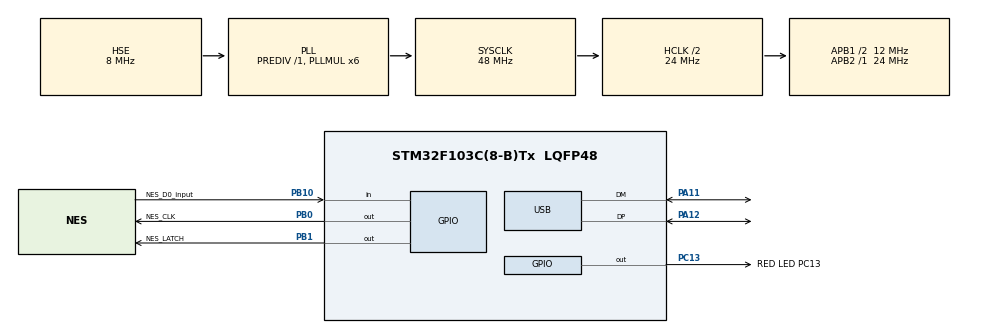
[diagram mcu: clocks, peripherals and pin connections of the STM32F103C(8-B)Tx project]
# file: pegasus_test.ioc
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Mcu.Family=STM32F1
Mcu.Name=STM32F103C(8-B)Tx
Mcu.Package=LQFP48
NVIC.PriorityGroup=NVIC_PRIORITYGROUP_4
NVIC.USB_LP_CAN1_RX0_IRQn=true\:0\:0\:false\:false\:true\:false
PA11.Mode=Device
PA11.Signal=USB_DM
PA12.Mode=Device
PA12.Signal=USB_DP
PA13.Mode=Serial_Wire
PA13.Signal=SYS_JTMS-SWDIO
PA14.Mode=Serial_Wire
PA14.Signal=SYS_JTCK-SWCLK
PB0.GPIO_Label=NES_CLK
PB0.GPIO_Speed=GPIO_SPEED_FREQ_HIGH
PB0.Signal=GPIO_Output
PB1.GPIO_Label=NES_LATCH
PB1.GPIO_Speed=GPIO_SPEED_FREQ_HIGH
PB1.Signal=GPIO_Output
PB10.GPIO_Label=NES_D0_input
PB10.GPIO_PuPd=GPIO_PULLUP
PB10.Signal=GPIO_Input
PC13-TAMPER-RTC.GPIO_Label=RED LED PC13
PC13-TAMPER-RTC.Signal=GPIO_Output
PD0-OSC_IN.Mode=HSE-External-Oscillator
PD0-OSC_IN.Signal=RCC_OSC_IN
PD1-OSC_OUT.Mode=HSE-External-Oscillator
PD1-OSC_OUT.Signal=RCC_OSC_OUT
ProjectManager.HeapSize=0x200
ProjectManager.StackSize=0x400
ProjectManager.TargetToolchain=SW4STM32
RCC.AHBCLKDivider=RCC_SYSCLK_DIV2
RCC.AHBFreq_Value=24000000
RCC.APB1CLKDivider=RCC_HCLK_DIV2
RCC.APB1Freq_Value=12000000
RCC.APB1TimFreq_Value=24000000
RCC.APB2Freq_Value=24000000
RCC.APB2TimFreq_Value=24000000
RCC.HCLKFreq_Value=24000000
RCC.PLLMUL=RCC_PLL_MUL6
RCC.RCC_MCOSource=RCC_MCO1SOURCE_PLLCLK
RCC.SYSCLKFreq_VALUE=48000000
RCC.SYSCLKSource=RCC_SYSCLKSOURCE_PLLCLK
RCC.USBFreq_Value=48000000
USB_DEVICE.CLASS_NAME_FS=CDC
USB_DEVICE.VirtualMode=Cdc
USB_DEVICE.VirtualModeFS=Cdc_FS
VP_USB_DEVICE_VS_USB_DEVICE_CDC_FS.Mode=CDC_FS
board=pegasus_test

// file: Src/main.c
/**
  ******************************************************************************
  * @file           : main.c
  * @brief          : Main program body
  ******************************************************************************
  * This notice applies to any and all portions of this file
  * that are not between comment pairs USER CODE BEGIN and
  * USER CODE END. Other portions of this file, whether
  * inserted by the user or by software development tools
  * are owned by their respective copyright owners.
  *
  * Copyright (c) 2019 STMicroelectronics International N.V.
  * All rights reserved.
  *
  * Redistribution and use in source and binary forms, with or without
  * modification, are permitted, provided that the following conditions are met:
  *
  * 1. Redistribution of source code must retain the above copyright notice,
  *    this list of conditions and the following disclaimer.
  * 2. Redistributions in binary form must reproduce the above copyright notice,
  *    this list of conditions and the following disclaimer in the documentation
  *    and/or other materials provided with the distribution.
  * 3. Neither the name of STMicroelectronics nor the names of other
  *    contributors to this software may be used to endorse or promote products
  *    derived from this software without specific written permission.
  * 4. This software, including modifications and/or derivative works of this
  *    software, must execute solely and exclusively on microcontroller or
  *    microprocessor devices manufactured by or for STMicroelectronics.
  * 5. Redistribution and use of this software other than as permitted under
  *    this license is void and will automatically terminate your rights under
  *    this license.
  *
  * THIS SOFTWARE IS PROVIDED BY STMICROELECTRONICS AND CONTRIBUTORS "AS IS"
  * AND ANY EXPRESS, IMPLIED OR STATUTORY WARRANTIES, INCLUDING, BUT NOT
  * LIMITED TO, THE IMPLIED WARRANTIES OF MERCHANTABILITY, FITNESS FOR A
  * PARTICULAR PURPOSE AND NON-INFRINGEMENT OF THIRD PARTY INTELLECTUAL PROPERTY
  * RIGHTS ARE DISCLAIMED TO THE FULLEST EXTENT PERMITTED BY LAW. IN NO EVENT
  * SHALL STMICROELECTRONICS OR CONTRIBUTORS BE LIABLE FOR ANY DIRECT, INDIRECT,
  * INCIDENTAL, SPECIAL, EXEMPLARY, OR CONSEQUENTIAL DAMAGES (INCLUDING, BUT NOT
  * LIMITED TO, PROCUREMENT OF SUBSTITUTE GOODS OR SERVICES; LOSS OF USE, DATA,
  * OR PROFITS; OR BUSINESS INTERRUPTION) HOWEVER CAUSED AND ON ANY THEORY OF
  * LIABILITY, WHETHER IN CONTRACT, STRICT LIABILITY, OR TORT (INCLUDING
  * NEGLIGENCE OR OTHERWISE) ARISING IN ANY WAY OUT OF THE USE OF THIS SOFTWARE,
  * EVEN IF ADVISED OF THE POSSIBILITY OF SUCH DAMAGE.
  *
  ******************************************************************************
  */
#include "main.h"
#include "stm32f1xx_hal.h"
#include "usb_device.h"

/* USER CODE BEGIN PV */
/* Private variables ---------------------------------------------------------*/

/* USER CODE END PV */

void SystemClock_Config(void);
static void MX_GPIO_Init(void);

/* USER CODE BEGIN PFP */
/* Private function prototypes -----------------------------------------------*/
void int16_to_bin( int16_t x, int8_t *_buf );
void usb_receive_bytes( uint8_t* Buf, uint32_t *Len );
uint16_t get_nes_buttons( void );

/* USER CODE END PFP */

int main(void)
{
  /* USER CODE BEGIN 1 */

	uint16_t tmp_int;
	uint8_t  buf[ 32 ];

  HAL_GPIO_WritePin( RED_LED_PC13_GPIO_Port, RED_LED_PC13_Pin, GPIO_PIN_SET );
  HAL_GPIO_WritePin( NES_CLK_GPIO_Port,      NES_CLK_Pin, GPIO_PIN_RESET );
  HAL_GPIO_WritePin( NES_LATCH_GPIO_Port,    NES_LATCH_Pin, GPIO_PIN_RESET );

  /* USER CODE END 1 */

  /* MCU Configuration----------------------------------------------------------*/

  /* Reset of all peripherals, Initializes the Flash interface and the Systick. */
  HAL_Init();

  /* Configure the system clock */
  SystemClock_Config();

  /* Initialize all configured peripherals */
  MX_GPIO_Init();
  MX_USB_DEVICE_Init();

  /* Infinite loop */
  /* USER CODE BEGIN WHILE */
  while (1)
  {
	HAL_Delay( 100 );
	tmp_int = get_nes_buttons();
	int16_to_bin( tmp_int, buf );
	CDC_Transmit_FS( buf, 18 );

	if( (tmp_int | 0xFC00) != 0xFFFF ) {
		HAL_GPIO_WritePin( RED_LED_PC13_GPIO_Port, RED_LED_PC13_Pin, GPIO_PIN_RESET );
	}
	else {
		HAL_GPIO_WritePin( RED_LED_PC13_GPIO_Port, RED_LED_PC13_Pin, GPIO_PIN_SET );
	}

  /* USER CODE END WHILE */

  }

}

void SystemClock_Config(void)
{

  RCC_OscInitTypeDef RCC_OscInitStruct;
  RCC_ClkInitTypeDef RCC_ClkInitStruct;
  RCC_PeriphCLKInitTypeDef PeriphClkInit;

    /**Initializes the CPU, AHB and APB busses clocks
    */
  RCC_OscInitStruct.OscillatorType = RCC_OSCILLATORTYPE_HSE;
  RCC_OscInitStruct.HSEState = RCC_HSE_ON;
  RCC_OscInitStruct.HSEPredivValue = RCC_HSE_PREDIV_DIV1;
  RCC_OscInitStruct.HSIState = RCC_HSI_ON;
  RCC_OscInitStruct.PLL.PLLState = RCC_PLL_ON;
  RCC_OscInitStruct.PLL.PLLSource = RCC_PLLSOURCE_HSE;
  RCC_OscInitStruct.PLL.PLLMUL = RCC_PLL_MUL6;
  if (HAL_RCC_OscConfig(&RCC_OscInitStruct) != HAL_OK)
  {
    _Error_Handler(__FILE__, __LINE__);
  }

    /**Initializes the CPU, AHB and APB busses clocks
    */
  RCC_ClkInitStruct.ClockType = RCC_CLOCKTYPE_HCLK|RCC_CLOCKTYPE_SYSCLK
                              |RCC_CLOCKTYPE_PCLK1|RCC_CLOCKTYPE_PCLK2;
  RCC_ClkInitStruct.SYSCLKSource = RCC_SYSCLKSOURCE_PLLCLK;
  RCC_ClkInitStruct.AHBCLKDivider = RCC_SYSCLK_DIV2;
  RCC_ClkInitStruct.APB1CLKDivider = RCC_HCLK_DIV2;
  RCC_ClkInitStruct.APB2CLKDivider = RCC_HCLK_DIV1;

  if (HAL_RCC_ClockConfig(&RCC_ClkInitStruct, FLASH_LATENCY_1) != HAL_OK)
  {
    _Error_Handler(__FILE__, __LINE__);
  }

  PeriphClkInit.PeriphClockSelection = RCC_PERIPHCLK_USB;
  PeriphClkInit.UsbClockSelection = RCC_USBCLKSOURCE_PLL;
  if (HAL_RCCEx_PeriphCLKConfig(&PeriphClkInit) != HAL_OK)
  {
    _Error_Handler(__FILE__, __LINE__);
  }

    /**Configure the Systick interrupt time
    */
  HAL_SYSTICK_Config(HAL_RCC_GetHCLKFreq()/1000);

    /**Configure the Systick
    */
  HAL_SYSTICK_CLKSourceConfig(SYSTICK_CLKSOURCE_HCLK);

  /* SysTick_IRQn interrupt configuration */
  HAL_NVIC_SetPriority(SysTick_IRQn, 0, 0);
}

/** Configure pins as
        * Analog
        * Input
        * Output
        * EVENT_OUT
        * EXTI
*/
static void MX_GPIO_Init(void)
{

  GPIO_InitTypeDef GPIO_InitStruct;

  /* GPIO Ports Clock Enable */
  __HAL_RCC_GPIOC_CLK_ENABLE();
  __HAL_RCC_GPIOD_CLK_ENABLE();
  __HAL_RCC_GPIOB_CLK_ENABLE();
  __HAL_RCC_GPIOA_CLK_ENABLE();

  /*Configure GPIO pin Output Level */
  HAL_GPIO_WritePin(RED_LED_PC13_GPIO_Port, RED_LED_PC13_Pin, GPIO_PIN_RESET);

  /*Configure GPIO pin Output Level */
  HAL_GPIO_WritePin(GPIOB, NES_CLK_Pin|NES_LATCH_Pin, GPIO_PIN_RESET);

  /*Configure GPIO pin : RED_LED_PC13_Pin */
  GPIO_InitStruct.Pin = RED_LED_PC13_Pin;
  GPIO_InitStruct.Mode = GPIO_MODE_OUTPUT_PP;
  GPIO_InitStruct.Speed = GPIO_SPEED_FREQ_LOW;
  HAL_GPIO_Init(RED_LED_PC13_GPIO_Port, &GPIO_InitStruct);

  /*Configure GPIO pins : NES_CLK_Pin NES_LATCH_Pin */
  GPIO_InitStruct.Pin = NES_CLK_Pin|NES_LATCH_Pin;
  GPIO_InitStruct.Mode = GPIO_MODE_OUTPUT_PP;
  GPIO_InitStruct.Speed = GPIO_SPEED_FREQ_HIGH;
  HAL_GPIO_Init(GPIOB, &GPIO_InitStruct);

  /*Configure GPIO pin : NES_D0_input_Pin */
  GPIO_InitStruct.Pin = NES_D0_input_Pin;
  GPIO_InitStruct.Mode = GPIO_MODE_INPUT;
  GPIO_InitStruct.Pull = GPIO_PULLUP;
  HAL_GPIO_Init(NES_D0_input_GPIO_Port, &GPIO_InitStruct);

}

/* USER CODE BEGIN 4 */

void int16_to_bin( int16_t x, int8_t *_buf ) {
	for( int loop = 0; loop < 16; loop++ ) {
		_buf[ loop ] = x & (0x8000 >> loop) ? '1' : '0';
	}
	_buf[ 16 ] = '\n';
	_buf[ 17 ] = '\r';
}

void usb_receive_bytes( uint8_t* Buf, uint32_t *Len ) {}

uint16_t get_nes_buttons( void ) {
	uint8_t  loop;
	uint16_t result = 0xFFFF;

	HAL_GPIO_WritePin( NES_LATCH_GPIO_Port, NES_LATCH_Pin, GPIO_PIN_SET );
	HAL_Delay( 2 );
	HAL_GPIO_WritePin( NES_LATCH_GPIO_Port, NES_LATCH_Pin, GPIO_PIN_RESET );
	for( loop = 0; loop < 16; loop++ ) {
		HAL_Delay( 1 );
		if( ! HAL_GPIO_ReadPin( NES_D0_input_GPIO_Port, NES_D0_input_Pin )) {
			result &= ~(1 << loop);
		}
		HAL_GPIO_WritePin( NES_CLK_GPIO_Port, NES_CLK_Pin, GPIO_PIN_SET );
		HAL_Delay( 1 );
		HAL_GPIO_WritePin( NES_CLK_GPIO_Port, NES_CLK_Pin, GPIO_PIN_RESET );
	}
	return( result );
}

/* USER CODE END 4 */

void _Error_Handler(char *file, int line)
{
  while(1)
  {
  }
}

/************************ (C) COPYRIGHT STMicroelectronics *****END OF FILE****/
